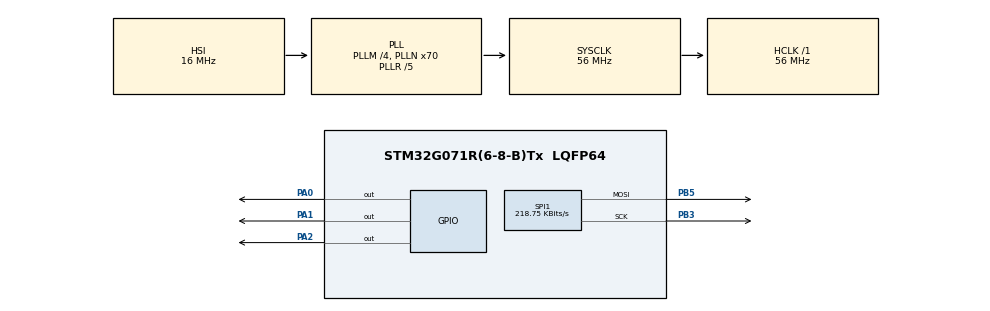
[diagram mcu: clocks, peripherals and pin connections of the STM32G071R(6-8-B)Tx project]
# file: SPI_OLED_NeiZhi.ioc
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Mcu.Family=STM32G0
Mcu.Name=STM32G071R(6-8-B)Tx
Mcu.Package=LQFP64
PA0.Signal=GPIO_Output
PA1.Signal=GPIO_Output
PA2.Signal=GPIO_Output
PB3.GPIO_PuPd=GPIO_PULLDOWN
PB3.Mode=TX_Only_Simplex_Unidirect_Master
PB3.Signal=SPI1_SCK
PB5.GPIO_PuPd=GPIO_PULLDOWN
PB5.Mode=TX_Only_Simplex_Unidirect_Master
PB5.Signal=SPI1_MOSI
ProjectManager.HeapSize=0x200
ProjectManager.StackSize=0x400
ProjectManager.TargetToolchain=MDK-ARM V5.27
RCC.ADCFreq_Value=56000000
RCC.AHBFreq_Value=56000000
RCC.CodegenConfigPeriph=false
RCC.CortexFreq_Value=56000000
RCC.EXTERNAL_CLOCK_VALUE=48000
RCC.HCLKFreq_Value=56000000
RCC.HSE_VALUE=8000000
RCC.HSI_VALUE=16000000
RCC.LSE_VALUE=32768
RCC.PLLM=RCC_PLLM_DIV4
RCC.PLLN=70
RCC.PLLP=RCC_PLLP_DIV10
RCC.PLLQ=RCC_PLLQ_DIV5
RCC.PLLR=RCC_PLLR_DIV5
RCC.SYSCLKFreq_VALUE=56000000
RCC.SYSCLKSource=RCC_SYSCLKSOURCE_PLLCLK
RCC.VCOOutputFreq_Value=280000000
SPI1.BaudRatePrescaler=SPI_BAUDRATEPRESCALER_256
SPI1.CLKPolarity=SPI_POLARITY_HIGH
SPI1.CalculateBaudRate=218.75 KBits/s
SPI1.DataSize=SPI_DATASIZE_8BIT
SPI1.Direction=SPI_DIRECTION_2LINES
SPI1.Mode=SPI_MODE_MASTER
SPI1.NSSPMode=SPI_NSS_PULSE_DISABLE
SPI1.VirtualType=VM_MASTER
VP_SYS_VS_DBSignals.Mode=DisableDeadBatterySignals
board=custom

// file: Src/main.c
/*******************************
	CN9_4	  PB3→D0	SPI时钟线
	CN9_5  	PB5→D1	SPI数据线
	CN10_34	PA2→RES	复位信号
	CN8_2 	PA1→DC	SPI数据/命令选择
	CN8_1 	PA0→CS	片选信号
*******************************/
#include "main.h"
SPI_HandleTypeDef hspi1;
void SystemClock_Config(void);
static void MX_GPIO_Init(void);
static void MX_SPI1_Init(void);

uint8_t aTxBuffer_T[1] = {0x00};	/* 发送缓冲区 */

#define SET 1
#define RESET 0
#define OLED_CMD 0
#define OLED_DATA 1
#define SIZE 				16		//字符与数字 字体大小16为大其他为小
#define X_WIDTH 		128
#define Y_WIDTH 		64
/*******************
		常用ASCII表
		偏移量32
		单个字符大小6列1（*8）行像素
		小字体模式 只在下半屏幕输出
*******************/
const unsigned char L6H8[][6] =
{
	{0x00, 0x00, 0x00, 0x00, 0x00, 0x00},// space 空格
	{0x00, 0x00, 0x00, 0x2f, 0x00, 0x00},// !
	{0x00, 0x00, 0x07, 0x00, 0x07, 0x00},// "
	{0x00, 0x14, 0x7f, 0x14, 0x7f, 0x14},// #
	{0x00, 0x24, 0x2a, 0x7f, 0x2a, 0x12},// $
	{0x00, 0x62, 0x64, 0x08, 0x13, 0x23},// %
	{0x00, 0x36, 0x49, 0x55, 0x22, 0x50},// &
	{0x00, 0x00, 0x05, 0x03, 0x00, 0x00},// '
	{0x00, 0x00, 0x1c, 0x22, 0x41, 0x00},// (
	{0x00, 0x00, 0x41, 0x22, 0x1c, 0x00},// )
	{0x00, 0x14, 0x08, 0x3E, 0x08, 0x14},// *
	{0x00, 0x08, 0x08, 0x3E, 0x08, 0x08},// +
	{0x00, 0x00, 0x00, 0xA0, 0x60, 0x00},// ,
	{0x00, 0x08, 0x08, 0x08, 0x08, 0x08},// -
	{0x00, 0x00, 0x60, 0x60, 0x00, 0x00},// .
	{0x00, 0x20, 0x10, 0x08, 0x04, 0x02},// /
	{0x00, 0x3E, 0x51, 0x49, 0x45, 0x3E},// 0
	{0x00, 0x00, 0x42, 0x7F, 0x40, 0x00},// 1
	{0x00, 0x42, 0x61, 0x51, 0x49, 0x46},// 2
	{0x00, 0x21, 0x41, 0x45, 0x4B, 0x31},// 3
	{0x00, 0x18, 0x14, 0x12, 0x7F, 0x10},// 4
	{0x00, 0x27, 0x45, 0x45, 0x45, 0x39},// 5
	{0x00, 0x3C, 0x4A, 0x49, 0x49, 0x30},// 6
	{0x00, 0x01, 0x71, 0x09, 0x05, 0x03},// 7
	{0x00, 0x36, 0x49, 0x49, 0x49, 0x36},// 8
	{0x00, 0x06, 0x49, 0x49, 0x29, 0x1E},// 9
	{0x00, 0x00, 0x36, 0x36, 0x00, 0x00},// :
	{0x00, 0x00, 0x56, 0x36, 0x00, 0x00},// ;
	{0x00, 0x08, 0x14, 0x22, 0x41, 0x00},// <
	{0x00, 0x14, 0x14, 0x14, 0x14, 0x14},// =
	{0x00, 0x00, 0x41, 0x22, 0x14, 0x08},// >
	{0x00, 0x02, 0x01, 0x51, 0x09, 0x06},// ?
	{0x00, 0x32, 0x49, 0x59, 0x51, 0x3E},// @
	{0x00, 0x7C, 0x12, 0x11, 0x12, 0x7C},// A
	{0x00, 0x7F, 0x49, 0x49, 0x49, 0x36},// B
	{0x00, 0x3E, 0x41, 0x41, 0x41, 0x22},// C
	{0x00, 0x7F, 0x41, 0x41, 0x22, 0x1C},// D
	{0x00, 0x7F, 0x49, 0x49, 0x49, 0x41},// E
	{0x00, 0x7F, 0x09, 0x09, 0x09, 0x01},// F
	{0x00, 0x3E, 0x41, 0x49, 0x49, 0x7A},// G
	{0x00, 0x7F, 0x08, 0x08, 0x08, 0x7F},// H
	{0x00, 0x00, 0x41, 0x7F, 0x41, 0x00},// I
	{0x00, 0x20, 0x40, 0x41, 0x3F, 0x01},// J
	{0x00, 0x7F, 0x08, 0x14, 0x22, 0x41},// K
	{0x00, 0x7F, 0x40, 0x40, 0x40, 0x40},// L
	{0x00, 0x7F, 0x02, 0x0C, 0x02, 0x7F},// M
	{0x00, 0x7F, 0x04, 0x08, 0x10, 0x7F},// N
	{0x00, 0x3E, 0x41, 0x41, 0x41, 0x3E},// O
	{0x00, 0x7F, 0x09, 0x09, 0x09, 0x06},// P
	{0x00, 0x3E, 0x41, 0x51, 0x21, 0x5E},// Q
	{0x00, 0x7F, 0x09, 0x19, 0x29, 0x46},// R
	{0x00, 0x46, 0x49, 0x49, 0x49, 0x31},// S
	{0x00, 0x01, 0x01, 0x7F, 0x01, 0x01},// T
	{0x00, 0x3F, 0x40, 0x40, 0x40, 0x3F},// U
	{0x00, 0x1F, 0x20, 0x40, 0x20, 0x1F},// V
	{0x00, 0x3F, 0x40, 0x38, 0x40, 0x3F},// W
	{0x00, 0x63, 0x14, 0x08, 0x14, 0x63},// X
	{0x00, 0x07, 0x08, 0x70, 0x08, 0x07},// Y
	{0x00, 0x61, 0x51, 0x49, 0x45, 0x43},// Z
	{0x00, 0x00, 0x7F, 0x41, 0x41, 0x00},// [
	{0x00, 0x55, 0x2A, 0x55, 0x2A, 0x55},// 55
	{0x00, 0x00, 0x41, 0x41, 0x7F, 0x00},// ]
	{0x00, 0x04, 0x02, 0x01, 0x02, 0x04},// ^
	{0x00, 0x40, 0x40, 0x40, 0x40, 0x40},// _
	{0x00, 0x00, 0x01, 0x02, 0x04, 0x00},// '
	{0x00, 0x20, 0x54, 0x54, 0x54, 0x78},// a
	{0x00, 0x7F, 0x48, 0x44, 0x44, 0x38},// b
	{0x00, 0x38, 0x44, 0x44, 0x44, 0x20},// c
	{0x00, 0x38, 0x44, 0x44, 0x48, 0x7F},// d
	{0x00, 0x38, 0x54, 0x54, 0x54, 0x18},// e
	{0x00, 0x08, 0x7E, 0x09, 0x01, 0x02},// f
	{0x00, 0x18, 0xA4, 0xA4, 0xA4, 0x7C},// g
	{0x00, 0x7F, 0x08, 0x04, 0x04, 0x78},// h
	{0x00, 0x00, 0x44, 0x7D, 0x40, 0x00},// i
	{0x00, 0x40, 0x80, 0x84, 0x7D, 0x00},// j
	{0x00, 0x7F, 0x10, 0x28, 0x44, 0x00},// k
	{0x00, 0x00, 0x41, 0x7F, 0x40, 0x00},// l
	{0x00, 0x7C, 0x04, 0x18, 0x04, 0x78},// m
	{0x00, 0x7C, 0x08, 0x04, 0x04, 0x78},// n
	{0x00, 0x38, 0x44, 0x44, 0x44, 0x38},// o
	{0x00, 0xFC, 0x24, 0x24, 0x24, 0x18},// p
	{0x00, 0x18, 0x24, 0x24, 0x18, 0xFC},// q
	{0x00, 0x7C, 0x08, 0x04, 0x04, 0x08},// r
	{0x00, 0x48, 0x54, 0x54, 0x54, 0x20},// s
	{0x00, 0x04, 0x3F, 0x44, 0x40, 0x20},// t
	{0x00, 0x3C, 0x40, 0x40, 0x20, 0x7C},// u
	{0x00, 0x1C, 0x20, 0x40, 0x20, 0x1C},// v
	{0x00, 0x3C, 0x40, 0x30, 0x40, 0x3C},// w
	{0x00, 0x44, 0x28, 0x10, 0x28, 0x44},// x
	{0x00, 0x1C, 0xA0, 0xA0, 0xA0, 0x7C},// y
	{0x00, 0x44, 0x64, 0x54, 0x4C, 0x44},// z
	{0x14, 0x14, 0x14, 0x14, 0x14, 0x14},// horiz lines
};

/*******************
		常用ASCII表
		偏移量32
		单个字符大小8列2（*8）行像素
		大字体模式
*******************/
const unsigned char L8H16[][8]=
{
  {0x00,0x00,0x00,0x00,0x00,0x00,0x00,0x00},
	{0x00,0x00,0x00,0x00,0x00,0x00,0x00,0x00},//space 0
  {0x00,0x00,0x00,0xF8,0x00,0x00,0x00,0x00},
	{0x00,0x00,0x00,0x33,0x30,0x00,0x00,0x00},//! 1
  {0x00,0x10,0x0C,0x06,0x10,0x0C,0x06,0x00},
	{0x00,0x00,0x00,0x00,0x00,0x00,0x00,0x00},//" 2
  {0x40,0xC0,0x78,0x40,0xC0,0x78,0x40,0x00},
	{0x04,0x3F,0x04,0x04,0x3F,0x04,0x04,0x00},//# 3
  {0x00,0x70,0x88,0xFC,0x08,0x30,0x00,0x00},
	{0x00,0x18,0x20,0xFF,0x21,0x1E,0x00,0x00},//$ 4
  {0xF0,0x08,0xF0,0x00,0xE0,0x18,0x00,0x00},
	{0x00,0x21,0x1C,0x03,0x1E,0x21,0x1E,0x00},//% 5
  {0x00,0xF0,0x08,0x88,0x70,0x00,0x00,0x00},
	{0x1E,0x21,0x23,0x24,0x19,0x27,0x21,0x10},//& 6
  {0x10,0x16,0x0E,0x00,0x00,0x00,0x00,0x00},
	{0x00,0x00,0x00,0x00,0x00,0x00,0x00,0x00},//' 7
  {0x00,0x00,0x00,0xE0,0x18,0x04,0x02,0x00},
	{0x00,0x00,0x00,0x07,0x18,0x20,0x40,0x00},//( 8
  {0x00,0x02,0x04,0x18,0xE0,0x00,0x00,0x00},
	{0x00,0x40,0x20,0x18,0x07,0x00,0x00,0x00},//) 9
  {0x40,0x40,0x80,0xF0,0x80,0x40,0x40,0x00},
	{0x02,0x02,0x01,0x0F,0x01,0x02,0x02,0x00},//* 10
  {0x00,0x00,0x00,0xF0,0x00,0x00,0x00,0x00},
	{0x01,0x01,0x01,0x1F,0x01,0x01,0x01,0x00},//+ 11
  {0x00,0x00,0x00,0x00,0x00,0x00,0x00,0x00},
	{0x80,0xB0,0x70,0x00,0x00,0x00,0x00,0x00},//, 12
  {0x00,0x00,0x00,0x00,0x00,0x00,0x00,0x00},
	{0x00,0x01,0x01,0x01,0x01,0x01,0x01,0x01},//- 13
  {0x00,0x00,0x00,0x00,0x00,0x00,0x00,0x00},
	{0x00,0x30,0x30,0x00,0x00,0x00,0x00,0x00},//. 14
  {0x00,0x00,0x00,0x00,0x80,0x60,0x18,0x04},
	{0x00,0x60,0x18,0x06,0x01,0x00,0x00,0x00},/// 15
  {0x00,0xE0,0x10,0x08,0x08,0x10,0xE0,0x00},
	{0x00,0x0F,0x10,0x20,0x20,0x10,0x0F,0x00},//0 16
  {0x00,0x10,0x10,0xF8,0x00,0x00,0x00,0x00},
	{0x00,0x20,0x20,0x3F,0x20,0x20,0x00,0x00},//1 17
  {0x00,0x70,0x08,0x08,0x08,0x88,0x70,0x00},
	{0x00,0x30,0x28,0x24,0x22,0x21,0x30,0x00},//2 18
  {0x00,0x30,0x08,0x88,0x88,0x48,0x30,0x00},
	{0x00,0x18,0x20,0x20,0x20,0x11,0x0E,0x00},//3 19
  {0x00,0x00,0xC0,0x20,0x10,0xF8,0x00,0x00},
	{0x00,0x07,0x04,0x24,0x24,0x3F,0x24,0x00},//4 20
  {0x00,0xF8,0x08,0x88,0x88,0x08,0x08,0x00},
	{0x00,0x19,0x21,0x20,0x20,0x11,0x0E,0x00},//5 21
  {0x00,0xE0,0x10,0x88,0x88,0x18,0x00,0x00},
	{0x00,0x0F,0x11,0x20,0x20,0x11,0x0E,0x00},//6 22
  {0x00,0x38,0x08,0x08,0xC8,0x38,0x08,0x00},
	{0x00,0x00,0x00,0x3F,0x00,0x00,0x00,0x00},//7 23
  {0x00,0x70,0x88,0x08,0x08,0x88,0x70,0x00},
	{0x00,0x1C,0x22,0x21,0x21,0x22,0x1C,0x00},//8 24
  {0x00,0xE0,0x10,0x08,0x08,0x10,0xE0,0x00},
	{0x00,0x00,0x31,0x22,0x22,0x11,0x0F,0x00},//9 25
  {0x00,0x00,0x00,0xC0,0xC0,0x00,0x00,0x00},
	{0x00,0x00,0x00,0x30,0x30,0x00,0x00,0x00},//: 26
  {0x00,0x00,0x00,0x80,0x00,0x00,0x00,0x00},
	{0x00,0x00,0x80,0x60,0x00,0x00,0x00,0x00},//; 27
  {0x00,0x00,0x80,0x40,0x20,0x10,0x08,0x00},
	{0x00,0x01,0x02,0x04,0x08,0x10,0x20,0x00},//< 28
  {0x40,0x40,0x40,0x40,0x40,0x40,0x40,0x00},
	{0x04,0x04,0x04,0x04,0x04,0x04,0x04,0x00},//= 29
  {0x00,0x08,0x10,0x20,0x40,0x80,0x00,0x00},
	{0x00,0x20,0x10,0x08,0x04,0x02,0x01,0x00},//> 30
  {0x00,0x70,0x48,0x08,0x08,0x08,0xF0,0x00},
	{0x00,0x00,0x00,0x30,0x36,0x01,0x00,0x00},//? 31
  {0xC0,0x30,0xC8,0x28,0xE8,0x10,0xE0,0x00},
	{0x07,0x18,0x27,0x24,0x23,0x14,0x0B,0x00},//@ 32
  {0x00,0x00,0xC0,0x38,0xE0,0x00,0x00,0x00},
	{0x20,0x3C,0x23,0x02,0x02,0x27,0x38,0x20},//A 33
  {0x08,0xF8,0x88,0x88,0x88,0x70,0x00,0x00},
	{0x20,0x3F,0x20,0x20,0x20,0x11,0x0E,0x00},//B 34
  {0xC0,0x30,0x08,0x08,0x08,0x08,0x38,0x00},
	{0x07,0x18,0x20,0x20,0x20,0x10,0x08,0x00},//C 35
  {0x08,0xF8,0x08,0x08,0x08,0x10,0xE0,0x00},
	{0x20,0x3F,0x20,0x20,0x20,0x10,0x0F,0x00},//D 36
  {0x08,0xF8,0x88,0x88,0xE8,0x08,0x10,0x00},
	{0x20,0x3F,0x20,0x20,0x23,0x20,0x18,0x00},//E 37
  {0x08,0xF8,0x88,0x88,0xE8,0x08,0x10,0x00},
	{0x20,0x3F,0x20,0x00,0x03,0x00,0x00,0x00},//F 38
  {0xC0,0x30,0x08,0x08,0x08,0x38,0x00,0x00},
	{0x07,0x18,0x20,0x20,0x22,0x1E,0x02,0x00},//G 39
  {0x08,0xF8,0x08,0x00,0x00,0x08,0xF8,0x08},
	{0x20,0x3F,0x21,0x01,0x01,0x21,0x3F,0x20},//H 40
  {0x00,0x08,0x08,0xF8,0x08,0x08,0x00,0x00},
	{0x00,0x20,0x20,0x3F,0x20,0x20,0x00,0x00},//I 41
  {0x00,0x00,0x08,0x08,0xF8,0x08,0x08,0x00},
	{0xC0,0x80,0x80,0x80,0x7F,0x00,0x00,0x00},//J 42
  {0x08,0xF8,0x88,0xC0,0x28,0x18,0x08,0x00},
	{0x20,0x3F,0x20,0x01,0x26,0x38,0x20,0x00},//K 43
  {0x08,0xF8,0x08,0x00,0x00,0x00,0x00,0x00},
	{0x20,0x3F,0x20,0x20,0x20,0x20,0x30,0x00},//L 44
  {0x08,0xF8,0xF8,0x00,0xF8,0xF8,0x08,0x00},
	{0x20,0x3F,0x00,0x3F,0x00,0x3F,0x20,0x00},//M 45
  {0x08,0xF8,0x30,0xC0,0x00,0x08,0xF8,0x08},
	{0x20,0x3F,0x20,0x00,0x07,0x18,0x3F,0x00},//N 46
  {0xE0,0x10,0x08,0x08,0x08,0x10,0xE0,0x00},
	{0x0F,0x10,0x20,0x20,0x20,0x10,0x0F,0x00},//O 47
  {0x08,0xF8,0x08,0x08,0x08,0x08,0xF0,0x00},
	{0x20,0x3F,0x21,0x01,0x01,0x01,0x00,0x00},//P 48
  {0xE0,0x10,0x08,0x08,0x08,0x10,0xE0,0x00},
	{0x0F,0x18,0x24,0x24,0x38,0x50,0x4F,0x00},//Q 49
  {0x08,0xF8,0x88,0x88,0x88,0x88,0x70,0x00},
	{0x20,0x3F,0x20,0x00,0x03,0x0C,0x30,0x20},//R 50
  {0x00,0x70,0x88,0x08,0x08,0x08,0x38,0x00},
	{0x00,0x38,0x20,0x21,0x21,0x22,0x1C,0x00},//S 51
  {0x18,0x08,0x08,0xF8,0x08,0x08,0x18,0x00},
	{0x00,0x00,0x20,0x3F,0x20,0x00,0x00,0x00},//T 52
  {0x08,0xF8,0x08,0x00,0x00,0x08,0xF8,0x08},
	{0x00,0x1F,0x20,0x20,0x20,0x20,0x1F,0x00},//U 53
  {0x08,0x78,0x88,0x00,0x00,0xC8,0x38,0x08},
	{0x00,0x00,0x07,0x38,0x0E,0x01,0x00,0x00},//V 54
  {0xF8,0x08,0x00,0xF8,0x00,0x08,0xF8,0x00},
	{0x03,0x3C,0x07,0x00,0x07,0x3C,0x03,0x00},//W 55
  {0x08,0x18,0x68,0x80,0x80,0x68,0x18,0x08},
	{0x20,0x30,0x2C,0x03,0x03,0x2C,0x30,0x20},//X 56
  {0x08,0x38,0xC8,0x00,0xC8,0x38,0x08,0x00},
	{0x00,0x00,0x20,0x3F,0x20,0x00,0x00,0x00},//Y 57
  {0x10,0x08,0x08,0x08,0xC8,0x38,0x08,0x00},
	{0x20,0x38,0x26,0x21,0x20,0x20,0x18,0x00},//Z 58
  {0x00,0x00,0x00,0xFE,0x02,0x02,0x02,0x00},
	{0x00,0x00,0x00,0x7F,0x40,0x40,0x40,0x00},//[ 59
  {0x00,0x0C,0x30,0xC0,0x00,0x00,0x00,0x00},
	{0x00,0x00,0x00,0x01,0x06,0x38,0xC0,0x00},//\ 60
  {0x00,0x02,0x02,0x02,0xFE,0x00,0x00,0x00},
	{0x00,0x40,0x40,0x40,0x7F,0x00,0x00,0x00},//] 61
  {0x00,0x00,0x04,0x02,0x02,0x02,0x04,0x00},
	{0x00,0x00,0x00,0x00,0x00,0x00,0x00,0x00},//^ 62
  {0x00,0x00,0x00,0x00,0x00,0x00,0x00,0x00},
	{0x80,0x80,0x80,0x80,0x80,0x80,0x80,0x80},//_ 63
  {0x00,0x02,0x02,0x04,0x00,0x00,0x00,0x00},
	{0x00,0x00,0x00,0x00,0x00,0x00,0x00,0x00},//` 64
  {0x00,0x00,0x80,0x80,0x80,0x80,0x00,0x00},
	{0x00,0x19,0x24,0x22,0x22,0x22,0x3F,0x20},//a 65
  {0x08,0xF8,0x00,0x80,0x80,0x00,0x00,0x00},
	{0x00,0x3F,0x11,0x20,0x20,0x11,0x0E,0x00},//b 66
  {0x00,0x00,0x00,0x80,0x80,0x80,0x00,0x00},
	{0x00,0x0E,0x11,0x20,0x20,0x20,0x11,0x00},//c 67
  {0x00,0x00,0x00,0x80,0x80,0x88,0xF8,0x00},
	{0x00,0x0E,0x11,0x20,0x20,0x10,0x3F,0x20},//d 68
  {0x00,0x00,0x80,0x80,0x80,0x80,0x00,0x00},
	{0x00,0x1F,0x22,0x22,0x22,0x22,0x13,0x00},//e 69
  {0x00,0x80,0x80,0xF0,0x88,0x88,0x88,0x18},
	{0x00,0x20,0x20,0x3F,0x20,0x20,0x00,0x00},//f 70
  {0x00,0x00,0x80,0x80,0x80,0x80,0x80,0x00},
	{0x00,0x6B,0x94,0x94,0x94,0x93,0x60,0x00},//g 71
  {0x08,0xF8,0x00,0x80,0x80,0x80,0x00,0x00},
	{0x20,0x3F,0x21,0x00,0x00,0x20,0x3F,0x20},//h 72
  {0x00,0x80,0x98,0x98,0x00,0x00,0x00,0x00},
	{0x00,0x20,0x20,0x3F,0x20,0x20,0x00,0x00},//i 73
  {0x00,0x00,0x00,0x80,0x98,0x98,0x00,0x00},
	{0x00,0xC0,0x80,0x80,0x80,0x7F,0x00,0x00},//j 74
  {0x08,0xF8,0x00,0x00,0x80,0x80,0x80,0x00},
	{0x20,0x3F,0x24,0x02,0x2D,0x30,0x20,0x00},//k 75
  {0x00,0x08,0x08,0xF8,0x00,0x00,0x00,0x00},
	{0x00,0x20,0x20,0x3F,0x20,0x20,0x00,0x00},//l 76
  {0x80,0x80,0x80,0x80,0x80,0x80,0x80,0x00},
	{0x20,0x3F,0x20,0x00,0x3F,0x20,0x00,0x3F},//m 77
  {0x80,0x80,0x00,0x80,0x80,0x80,0x00,0x00},
	{0x20,0x3F,0x21,0x00,0x00,0x20,0x3F,0x20},//n 78
  {0x00,0x00,0x80,0x80,0x80,0x80,0x00,0x00},
	{0x00,0x1F,0x20,0x20,0x20,0x20,0x1F,0x00},//o 79
  {0x80,0x80,0x00,0x80,0x80,0x00,0x00,0x00},
	{0x80,0xFF,0xA1,0x20,0x20,0x11,0x0E,0x00},//p 80
  {0x00,0x00,0x00,0x80,0x80,0x80,0x80,0x00},
	{0x00,0x0E,0x11,0x20,0x20,0xA0,0xFF,0x80},//q 81
  {0x80,0x80,0x80,0x00,0x80,0x80,0x80,0x00},
	{0x20,0x20,0x3F,0x21,0x20,0x00,0x01,0x00},//r 82
  {0x00,0x00,0x80,0x80,0x80,0x80,0x80,0x00},
	{0x00,0x33,0x24,0x24,0x24,0x24,0x19,0x00},//s 83
  {0x00,0x80,0x80,0xE0,0x80,0x80,0x00,0x00},
	{0x00,0x00,0x00,0x1F,0x20,0x20,0x00,0x00},//t 84
  {0x80,0x80,0x00,0x00,0x00,0x80,0x80,0x00},
	{0x00,0x1F,0x20,0x20,0x20,0x10,0x3F,0x20},//u 85
  {0x80,0x80,0x80,0x00,0x00,0x80,0x80,0x80},
	{0x00,0x01,0x0E,0x30,0x08,0x06,0x01,0x00},//v 86
  {0x80,0x80,0x00,0x80,0x00,0x80,0x80,0x80},
	{0x0F,0x30,0x0C,0x03,0x0C,0x30,0x0F,0x00},//w 87
  {0x00,0x80,0x80,0x00,0x80,0x80,0x80,0x00},
	{0x00,0x20,0x31,0x2E,0x0E,0x31,0x20,0x00},//x 88
  {0x80,0x80,0x80,0x00,0x00,0x80,0x80,0x80},
	{0x80,0x81,0x8E,0x70,0x18,0x06,0x01,0x00},//y 89
  {0x00,0x80,0x80,0x80,0x80,0x80,0x80,0x00},
	{0x00,0x21,0x30,0x2C,0x22,0x21,0x30,0x00},//z 90
  {0x00,0x00,0x00,0x00,0x80,0x7C,0x02,0x02},
	{0x00,0x00,0x00,0x00,0x00,0x3F,0x40,0x40},//{ 91
  {0x00,0x00,0x00,0x00,0xFF,0x00,0x00,0x00},
	{0x00,0x00,0x00,0x00,0xFF,0x00,0x00,0x00},//| 92
  {0x00,0x02,0x02,0x7C,0x80,0x00,0x00,0x00},
	{0x00,0x40,0x40,0x3F,0x00,0x00,0x00,0x00},//} 93
  {0x00,0x06,0x01,0x01,0x02,0x02,0x04,0x04},
	{0x00,0x00,0x00,0x00,0x00,0x00,0x00,0x00},//~ 94
};

/*****************************
		上半个屏幕，下半个屏幕
		每个字符占用16列2（*8）行
*****************************/
unsigned char Hzk[][16]=
{
	{0x80,0x84,0x44,0x44,0x24,0x14,0x0C,0xFF,0x0C,0x14,0x24,0x44,0x44,0x84,0x80,0x00},
	{0x08,0x08,0x08,0x08,0x09,0x49,0x89,0x79,0x0D,0x0B,0x09,0x08,0x08,0x08,0x08,0x00},/*"李",0*/

	{0x40,0x40,0x42,0x42,0x42,0x42,0x42,0xFE,0x42,0x42,0x42,0x42,0x42,0x40,0x40,0x00},
	{0x80,0x80,0x40,0x20,0x10,0x0C,0x03,0x00,0x03,0x0C,0x10,0x20,0x40,0x80,0x80,0x00},/*"天",1*/

	{0x00,0x02,0x0C,0xC0,0x00,0x20,0xA4,0x64,0xA4,0x3F,0x24,0x64,0xA4,0x20,0x20,0x00},
	{0x02,0x02,0x7F,0x00,0x80,0x89,0x44,0x46,0x2B,0x12,0x2A,0x46,0x80,0x81,0x00,0x00},/*"凌",2*/

	{0x00,0x00,0xFF,0x88,0x88,0x48,0x48,0x00,0x7F,0x88,0x84,0x84,0x82,0xE0,0x00,0x00},
	{0x04,0x04,0x05,0x04,0x04,0x04,0x04,0xFF,0x04,0x04,0x04,0x04,0x04,0x04,0x04,0x00},/*"毕",3*/

	{0x00,0x10,0x60,0x80,0x00,0xFF,0x00,0x00,0x00,0xFF,0x00,0x00,0xC0,0x30,0x00,0x00},
	{0x40,0x40,0x40,0x43,0x40,0x7F,0x40,0x40,0x40,0x7F,0x42,0x41,0x40,0x40,0x40,0x00},/*"业",4*/

	{0x40,0x40,0x42,0xCC,0x00,0x40,0xA0,0x9E,0x82,0x82,0x82,0x9E,0xA0,0x20,0x20,0x00},
	{0x00,0x00,0x00,0x3F,0x90,0x88,0x40,0x43,0x2C,0x10,0x28,0x46,0x41,0x80,0x80,0x00},/*"设",5*/

	{0x40,0x40,0x42,0xCC,0x00,0x40,0x40,0x40,0x40,0xFF,0x40,0x40,0x40,0x40,0x40,0x00},
	{0x00,0x00,0x00,0x7F,0x20,0x10,0x00,0x00,0x00,0xFF,0x00,0x00,0x00,0x00,0x00,0x00},/*"计",6*/
};

/*****************************
		图像显示，横排扫描
		8（*8）行128列
		无划分
*****************************/
unsigned char BMP1[][128] =
{
	{0x00,0x03,0x05,0x09,0x11,0xFF,0x11,0x89,0x05,0xC3,0x00,0xE0,0x00,0xF0,0x00,0xF8,
	0x00,0x00,0x00,0x00,0x00,0x00,0x00,0x44,0x28,0xFF,0x11,0xAA,0x44,0x00,0x00,0x00,
	0x00,0x00,0x00,0x00,0x00,0x00,0x00,0x00,0x00,0x00,0x00,0x00,0x00,0x00,0x00,0x00,
	0x00,0x00,0x00,0x00,0x00,0x00,0x00,0x00,0x00,0x00,0x00,0x00,0x00,0x00,0x00,0x00,
	0x00,0x00,0x00,0x00,0x00,0x00,0x00,0x00,0x00,0x00,0x00,0x00,0x00,0x00,0x00,0x00,
	0x00,0x00,0x00,0x00,0x00,0x00,0x00,0x00,0x00,0x00,0x83,0x01,0x38,0x44,0x82,0x92,
	0x92,0x74,0x01,0x83,0x00,0x00,0x00,0x00,0x00,0x00,0x00,0x7C,0x44,0xFF,0x01,0x7D,
	0x7D,0x7D,0x01,0x7D,0x7D,0x7D,0x7D,0x01,0x7D,0x7D,0x7D,0x7D,0x7D,0x01,0xFF,0x00},

	{0x00,0x00,0x00,0x00,0x00,0x01,0x00,0x01,0x00,0x01,0x00,0x01,0x00,0x01,0x00,0x01,
	0x00,0x00,0x00,0x00,0x00,0x00,0x00,0x00,0x00,0x01,0x01,0x00,0x00,0x00,0x00,0x00,
	0x00,0x00,0x00,0x00,0x00,0x00,0x00,0x00,0x00,0x00,0x00,0x00,0x00,0x00,0x00,0x00,
	0x00,0x00,0x00,0x00,0x00,0x00,0x00,0x00,0x00,0x00,0x00,0x00,0x00,0x00,0x00,0x00,
	0x00,0x00,0x00,0x00,0x00,0x00,0x00,0x00,0x00,0x00,0x00,0x00,0x00,0x00,0x00,0x00,
	0x00,0x00,0x00,0x00,0x00,0x00,0x00,0x00,0x00,0x00,0x01,0x01,0x00,0x00,0x00,0x00,
	0x00,0x00,0x01,0x01,0x00,0x00,0x00,0x00,0x00,0x00,0x00,0x00,0x00,0x01,0x01,0x01,
	0x01,0x01,0x01,0x01,0x01,0x01,0x01,0x01,0x01,0x01,0x01,0x01,0x01,0x01,0x01,0x00},

	{0x00,0x00,0x00,0x00,0x00,0x00,0x00,0x00,0x00,0x00,0x00,0x00,0x00,0x00,0x00,0x00,
	0x00,0x00,0x00,0x00,0x00,0x00,0x00,0x00,0x00,0x00,0x00,0x00,0x3F,0x3F,0x03,0x03,
	0xF3,0x13,0x11,0x11,0x11,0x11,0x11,0x11,0x01,0xF1,0x11,0x61,0x81,0x01,0x01,0x01,
	0x81,0x61,0x11,0xF1,0x01,0x01,0x01,0x01,0x41,0x41,0xF1,0x01,0x01,0x01,0x01,0x01,
	0xC1,0x21,0x11,0x11,0x11,0x11,0x21,0xC1,0x01,0x01,0x01,0x01,0x41,0x41,0xF1,0x01,
	0x01,0x01,0x01,0x01,0x01,0x01,0x01,0x01,0x01,0x11,0x11,0x11,0x11,0x11,0xD3,0x33,
	0x03,0x03,0x3F,0x3F,0x00,0x00,0x00,0x00,0x00,0x00,0x00,0x00,0x00,0x00,0x00,0x00,
	0x00,0x00,0x00,0x00,0x00,0x00,0x00,0x00,0x00,0x00,0x00,0x00,0x00,0x00,0x00,0x00},

	{0x00,0x00,0x00,0x00,0x00,0x00,0x00,0x00,0x00,0x00,0x00,0x00,0x00,0x00,0x00,0x00,
	0x00,0x00,0x00,0x00,0x00,0x00,0x00,0x00,0x00,0x00,0x00,0x00,0xE0,0xE0,0x00,0x00,
	0x7F,0x01,0x01,0x01,0x01,0x01,0x01,0x00,0x00,0x7F,0x00,0x00,0x01,0x06,0x18,0x06,
	0x01,0x00,0x00,0x7F,0x00,0x00,0x00,0x00,0x40,0x40,0x7F,0x40,0x40,0x00,0x00,0x00,
	0x1F,0x20,0x40,0x40,0x40,0x40,0x20,0x1F,0x00,0x00,0x00,0x00,0x40,0x40,0x7F,0x40,
	0x40,0x00,0x00,0x00,0x00,0x60,0x00,0x00,0x00,0x00,0x40,0x30,0x0C,0x03,0x00,0x00,
	0x00,0x00,0xE0,0xE0,0x00,0x00,0x00,0x00,0x00,0x00,0x00,0x00,0x00,0x00,0x00,0x00,
	0x00,0x00,0x00,0x00,0x00,0x00,0x00,0x00,0x00,0x00,0x00,0x00,0x00,0x00,0x00,0x00},

	{0x00,0x00,0x00,0x00,0x00,0x00,0x00,0x00,0x00,0x00,0x00,0x00,0x00,0x00,0x00,0x00,
	0x00,0x00,0x00,0x00,0x00,0x00,0x00,0x00,0x00,0x00,0x00,0x00,0x07,0x07,0x06,0x06,
	0x06,0x06,0x04,0x04,0x04,0x84,0x44,0x44,0x44,0x84,0x04,0x04,0x84,0x44,0x44,0x44,
	0x84,0x04,0x04,0x04,0x84,0xC4,0x04,0x04,0x04,0x04,0x84,0x44,0x44,0x44,0x84,0x04,
	0x04,0x04,0x04,0x04,0x84,0x44,0x44,0x44,0x84,0x04,0x04,0x04,0x04,0x04,0x84,0x44,
	0x44,0x44,0x84,0x04,0x04,0x84,0x44,0x44,0x44,0x84,0x04,0x04,0x04,0x04,0x06,0x06,
	0x06,0x06,0x07,0x07,0x00,0x00,0x00,0x00,0x00,0x00,0x00,0x00,0x00,0x00,0x00,0x00,
	0x00,0x00,0x00,0x00,0x00,0x00,0x00,0x00,0x00,0x00,0x00,0x00,0x00,0x00,0x00,0x00},

	{0x00,0x00,0x00,0x00,0x00,0x00,0x00,0x00,0x00,0x00,0x00,0x00,0x00,0x00,0x00,0x00,
	0x00,0x00,0x00,0x00,0x00,0x00,0x00,0x00,0x00,0x00,0x00,0x00,0x00,0x00,0x00,0x00,
	0x00,0x00,0x00,0x00,0x00,0x10,0x18,0x14,0x12,0x11,0x00,0x00,0x0F,0x10,0x10,0x10,
	0x0F,0x00,0x00,0x00,0x10,0x1F,0x10,0x00,0x00,0x00,0x08,0x10,0x12,0x12,0x0D,0x00,
	0x00,0x18,0x00,0x00,0x0D,0x12,0x12,0x12,0x0D,0x00,0x00,0x18,0x00,0x00,0x10,0x18,
	0x14,0x12,0x11,0x00,0x00,0x10,0x18,0x14,0x12,0x11,0x00,0x00,0x00,0x00,0x00,0x00,
	0x00,0x00,0x00,0x00,0x00,0x00,0x00,0x00,0x00,0x00,0x00,0x00,0x00,0x00,0x00,0x00,
	0x00,0x00,0x00,0x00,0x00,0x00,0x00,0x00,0x00,0x00,0x00,0x00,0x00,0x00,0x00,0x00},

	{0x00,0x00,0x00,0x00,0x00,0x00,0x00,0x00,0x00,0x00,0x00,0x00,0x00,0x00,0x00,0x00,
	0x00,0x00,0x00,0x00,0x00,0x00,0x00,0x00,0x00,0x00,0x00,0x00,0x00,0x00,0x00,0x00,
	0x00,0x00,0x00,0x00,0x00,0x00,0x00,0x00,0x00,0x00,0x00,0x00,0x00,0x00,0x00,0x00,
	0x00,0x00,0x00,0x00,0x00,0x00,0x00,0x00,0x00,0x00,0x00,0x00,0x80,0x80,0x80,0x80,
	0x80,0x80,0x80,0x80,0x00,0x00,0x00,0x00,0x00,0x00,0x00,0x00,0x00,0x00,0x00,0x00,
	0x00,0x00,0x00,0x00,0x00,0x00,0x00,0x00,0x00,0x00,0x00,0x00,0x00,0x00,0x00,0x00,
	0x00,0x00,0x00,0x00,0x00,0x00,0x00,0x00,0x00,0x00,0x00,0x00,0x00,0x00,0x00,0x00,
	0x00,0x00,0x00,0x00,0x00,0x00,0x00,0x00,0x00,0x00,0x00,0x00,0x00,0x00,0x00,0x00},

	{0x00,0x7F,0x03,0x0C,0x30,0x0C,0x03,0x7F,0x00,0x00,0x38,0x54,0x54,0x58,0x00,0x00,
	0x7C,0x04,0x04,0x78,0x00,0x00,0x3C,0x40,0x40,0x7C,0x00,0x00,0x00,0x00,0x00,0x00,
	0x00,0x00,0x00,0x00,0x00,0x00,0x00,0x00,0x00,0x00,0x00,0x00,0x00,0x00,0x00,0x00,
	0x00,0x00,0x00,0x00,0x00,0x00,0x00,0x00,0x00,0x00,0x00,0x00,0xFF,0xAA,0xAA,0xAA,
	0x28,0x08,0x00,0xFF,0x00,0x00,0x00,0x00,0x00,0x00,0x00,0x00,0x00,0x00,0x00,0x00,
	0x00,0x00,0x00,0x00,0x00,0x00,0x00,0x00,0x00,0x00,0x00,0x00,0x00,0x00,0x00,0x00,
	0x00,0x00,0x00,0x00,0x00,0x00,0x00,0x00,0x00,0x7F,0x03,0x0C,0x30,0x0C,0x03,0x7F,
	0x00,0x00,0x26,0x49,0x49,0x49,0x32,0x00,0x00,0x7F,0x02,0x04,0x08,0x10,0x7F,0x00}
};

unsigned char BMP2[][128] =
{
0X00,0X00,0X00,0X00,0X00,0X00,0X00,0X00,0X00,0X00,0X00,0X00,0X00,0X00,0X00,0X00,
0X00,0X00,0X00,0X00,0X00,0X00,0X00,0X00,0X00,0X00,0X00,0X00,0X00,0X00,0X00,0X00,
0X00,0X00,0X00,0X00,0X00,0X00,0X00,0X00,0X00,0X00,0X00,0X00,0X00,0X00,0X00,0X00,
0X00,0X00,0X00,0X00,0X00,0X00,0X00,0X00,0X00,0X00,0X00,0X00,0X00,0X00,0X00,0X00,
0X00,0X00,0X00,0X00,0X00,0X00,0X00,0X00,0X00,0X00,0X00,0X00,0X00,0X00,0X00,0X00,
0X00,0X00,0X00,0X00,0X00,0X00,0X00,0X00,0X00,0X00,0X00,0X00,0X00,0X00,0X00,0X00,
0X00,0X00,0X00,0X00,0X00,0X00,0X00,0X00,0X00,0X00,0X00,0X00,0X00,0X00,0X00,0X00,
0X00,0X00,0X00,0X00,0X00,0X00,0X00,0X00,0X00,0X00,0X00,0X00,0X00,0X00,0X00,0X00,
0X00,0X00,0X00,0X00,0X00,0X00,0X00,0X00,0X00,0X00,0X00,0X00,0X00,0X00,0X00,0X00,
0X00,0X00,0X00,0X00,0X00,0X00,0X00,0X00,0X00,0X00,0X00,0X00,0X00,0X00,0X00,0X00,
0X00,0X00,0X00,0X00,0X00,0X00,0X00,0X00,0X00,0X00,0X00,0X00,0X00,0X00,0X00,0X00,
0X00,0X00,0X00,0X00,0X00,0X00,0X00,0X80,0X80,0XC0,0XC0,0X60,0X60,0X30,0X30,0X30,
0X30,0X30,0X30,0X30,0X30,0X30,0X30,0X30,0XB0,0X30,0X20,0X60,0X60,0XC0,0XC0,0X80,
0X80,0X00,0X00,0X00,0X00,0X00,0X00,0X00,0X00,0X00,0X00,0X00,0X00,0X00,0X00,0X00,
0X00,0X00,0X00,0X00,0X00,0X00,0X00,0X00,0X00,0X00,0X00,0X00,0X00,0X00,0X00,0X00,
0X00,0X00,0X00,0X00,0X00,0X00,0X00,0X00,0X00,0X00,0X00,0X00,0X00,0X00,0X00,0X00,
0X00,0X00,0X00,0X00,0X00,0X00,0X00,0X00,0X00,0X00,0X00,0X00,0X00,0X00,0X00,0X00,
0X00,0X00,0X00,0X00,0X00,0X00,0X00,0X00,0X00,0X00,0X00,0X00,0X00,0X00,0X00,0X00,
0X00,0X00,0X00,0X00,0X00,0X00,0X00,0X00,0X00,0X00,0X00,0X00,0X00,0X00,0X00,0X00,
0X00,0X80,0XE0,0X78,0X1C,0X0E,0X07,0X03,0X01,0X00,0X80,0X03,0X03,0X01,0X00,0X00,
0X00,0X00,0X00,0X00,0X00,0X80,0X80,0X01,0X03,0X03,0X00,0X00,0X00,0X00,0X00,0X01,
0X03,0X07,0X0E,0X1C,0X70,0XE0,0X00,0X00,0X00,0X00,0X00,0X00,0X00,0X00,0X00,0X00,
0X00,0X00,0X00,0X00,0X00,0X00,0X00,0X00,0X00,0X00,0X00,0X00,0X00,0X00,0X00,0X00,
0X00,0X00,0X00,0X00,0X00,0X00,0X00,0X00,0X00,0X00,0X00,0X00,0X00,0X00,0X00,0X00,
0X00,0X00,0X00,0X00,0X00,0X00,0X00,0X00,0X00,0X00,0X00,0X00,0X00,0X00,0X00,0X00,
0X00,0X00,0X00,0X00,0X00,0X00,0X00,0X00,0X00,0X00,0X00,0X00,0X00,0X00,0X00,0X00,
0X00,0X00,0X00,0X00,0X00,0X00,0X00,0X00,0X00,0X00,0X00,0X00,0X00,0X00,0XF0,0XF8,
0X0E,0X07,0X01,0X08,0X1C,0X1C,0X1C,0X1C,0X1C,0X0F,0X07,0X33,0X30,0X60,0X60,0X60,
0X60,0X60,0X60,0X30,0X33,0X03,0X0F,0X0D,0X0C,0X0C,0X0C,0X0C,0X0C,0X00,0X00,0X00,
0X00,0X00,0X00,0X00,0X00,0X87,0XFF,0X30,0X00,0X00,0X00,0X00,0X00,0X00,0X00,0X00,
0X00,0X00,0X00,0X00,0X00,0X00,0X00,0X00,0X00,0X00,0X00,0X00,0X00,0X00,0X00,0X00,
0X00,0X00,0X00,0X00,0X00,0X00,0X00,0X00,0X00,0X00,0X00,0X00,0X00,0X00,0X00,0X00,
0X00,0X00,0X00,0X00,0X00,0X00,0X00,0X00,0X00,0X00,0X00,0X00,0X00,0X00,0X00,0X00,
0X00,0X00,0X00,0X00,0X00,0X00,0X00,0X00,0X00,0X00,0X00,0X00,0X00,0X00,0X00,0X00,
0X00,0X00,0X00,0X00,0X00,0X00,0X00,0X00,0X00,0X00,0X00,0X00,0X00,0X00,0X07,0X1F,
0X38,0X70,0X60,0XC0,0XC0,0X80,0X80,0X80,0X80,0X80,0X20,0X60,0X40,0XC0,0XC0,0X80,
0XC0,0XC0,0XC0,0X60,0X30,0X00,0X00,0X00,0X00,0X00,0X00,0X00,0X00,0X80,0X80,0X80,
0XC0,0X60,0X70,0X38,0X1C,0X0F,0X03,0X00,0X00,0X00,0X00,0X00,0X00,0X00,0X00,0X00,
0X00,0X00,0X00,0X00,0X00,0X00,0X00,0X00,0X00,0X00,0X00,0X00,0X00,0X00,0X00,0X00,
0X00,0X00,0X00,0X00,0X00,0X00,0X00,0X00,0X00,0X00,0X00,0X00,0X00,0X00,0X00,0X00,
0X00,0X00,0X00,0X00,0X00,0X00,0X00,0X00,0X00,0X00,0X00,0X00,0X00,0X00,0X00,0X00,
0X00,0X00,0X00,0X00,0X00,0X00,0X00,0X00,0X00,0X00,0X00,0X00,0X00,0X00,0X00,0X00,
0X00,0X00,0X00,0X00,0X00,0X00,0X00,0X00,0X00,0X00,0X00,0X00,0X00,0X00,0X00,0X00,
0X80,0XC0,0XE0,0X70,0X1C,0X8F,0XC3,0X61,0X31,0X19,0X08,0X00,0X80,0XC0,0X61,0X39,
0X1D,0X01,0X81,0XE0,0X70,0X38,0X00,0X00,0XF0,0XFE,0X0F,0X03,0X03,0X01,0X01,0X01,
0X00,0X00,0X00,0X00,0X00,0X00,0X00,0X00,0X00,0X00,0X00,0X00,0X00,0X00,0X00,0X00,
0X00,0X00,0X00,0X00,0X00,0X00,0X00,0X00,0X00,0X00,0X00,0X00,0X00,0X00,0X00,0X00,
0X00,0X00,0X00,0X00,0X00,0X00,0X00,0X00,0X00,0X00,0X00,0X00,0X00,0X00,0X00,0X00,
0X00,0X00,0X00,0X00,0X00,0X00,0X00,0X00,0X00,0X00,0X00,0X00,0X00,0X00,0X00,0X00,
0X00,0X00,0X00,0X00,0X00,0X00,0X00,0X00,0X00,0X00,0X00,0X00,0X00,0X00,0X00,0X00,
0X00,0X00,0X00,0X00,0X00,0X00,0X00,0X00,0X00,0X00,0XE0,0XE0,0XF0,0XF8,0XFE,0XE6,
0XC3,0XC7,0XC6,0X83,0X83,0XF9,0XFC,0X86,0X86,0X82,0X82,0X07,0X0D,0X0C,0X9C,0X9E,
0X9F,0X9B,0X99,0XB0,0XF0,0XF0,0XF8,0XFF,0XF7,0XF0,0XE0,0X00,0X00,0X00,0X00,0X00,
0X00,0X00,0X00,0X00,0X00,0X00,0X00,0X00,0X00,0X00,0X00,0X00,0X00,0X00,0X00,0X00,
0X00,0X00,0X00,0X00,0X00,0X00,0X00,0X00,0X00,0X00,0X00,0X00,0X00,0X00,0X00,0X00,
0X00,0X00,0X00,0X00,0X00,0X00,0X00,0X00,0X00,0X00,0X00,0X00,0X00,0X00,0X00,0X00,
0X00,0X00,0X00,0X00,0X00,0X00,0X00,0X00,0X00,0X00,0X00,0X00,0X00,0X00,0X00,0X00,
0X00,0X00,0X00,0X00,0X00,0X00,0X00,0X00,0X00,0X00,0X00,0X00,0X00,0X00,0X00,0X00,
0X00,0X00,0X00,0X00,0X00,0X00,0X00,0X00,0X00,0X00,0X00,0X01,0X01,0X03,0X03,0X03,
0X07,0X07,0X07,0X07,0X07,0X07,0X07,0X07,0X07,0X07,0X07,0X07,0X07,0X07,0X07,0X07,
0X07,0X07,0X07,0X07,0X03,0X03,0X03,0X03,0X01,0X01,0X00,0X00,0X00,0X00,0X00,0X00,
0X00,0X00,0X00,0X00,0X00,0X00,0X00,0X00,0X00,0X00,0X00,0X00,0X00,0X00,0X00,0X00,
0X00,0X00,0X00,0X00,0X00,0X00,0X00,0X00,0X00,0X00,0X00,0X00,0X00,0X00,0X00,0X00,
0X00,0X00,0X00,0X00,0X00,0X00,0X00,0X00,0X00,0X00,0X00,0X00,0X00,0X00,0X00,0X00,
};

//驱动
void OLED_WR_Byte(unsigned char dat,unsigned char cmd);
void OLED_Set_Pos(unsigned char x, unsigned char y);
void OLED_Clear(void);
void OLED_Init(void);
void OLED_All(void);
void OLED_Display_On(void);
void OLED_Display_Off(void);
//字符以及字符串显示
void OLED_ShowChar(unsigned char x,unsigned char y,unsigned char chr);
void OLED_ShowString(unsigned char  x,unsigned char  y, unsigned char  *p);
//中文模式显示
void OLED_ShowCHinese(unsigned char x,unsigned char y,unsigned char no);
//图片模式显示
void OLED_DrawBMP(unsigned char x0, unsigned char y0,unsigned char x1, unsigned char y1,unsigned char select_BMP);
//数字模式显示
int OLED_pow(unsigned char m,unsigned char n);
void OLED_ShowNum(unsigned char x,unsigned char y,unsigned int num,unsigned char len,unsigned char size2);

int main(void)
{
  HAL_Init();
  SystemClock_Config();
  MX_GPIO_Init();
  MX_SPI1_Init();
	unsigned char t;
	OLED_Init();
	OLED_Clear();
	t=' ';	//获取需要显示字符的ASC码
  while (1)
  {
		OLED_Clear();
		OLED_ShowCHinese(0,0,0);	//李天凌毕业设计
		OLED_ShowCHinese(18,0,1);
		OLED_ShowCHinese(36,0,2);
		OLED_ShowCHinese(54,0,3);
		OLED_ShowCHinese(72,0,4);
		OLED_ShowCHinese(90,0,5);
		OLED_ShowCHinese(108,0,6);
		OLED_ShowString(0,2,"1.3' OLED TEST");
	 	OLED_ShowString(20,4,"2021/06/01");
		OLED_ShowString(0,6,"ASCII:");
		OLED_ShowString(63,6,"CODE:");
		OLED_ShowChar(48,6,t);//显示ASCII字符
		t++;
		if(t>'~')
			t=' ';
		OLED_ShowNum(103,6,t,3,16);//显示ASCII字符的码值
		HAL_Delay(3000);
		OLED_All();
		HAL_Delay(1000);
		OLED_Clear();
		HAL_Delay(1000);
		OLED_DrawBMP(0,0,128,8,1);  //图片显示(图片显示慎用，生成的字表较大，会占用较多空间，FLASH空间8K以下慎用)
		HAL_Delay(3000);
		OLED_DrawBMP(0,0,128,8,2);
		HAL_Delay(3000);
  }
}

void SystemClock_Config(void)
{
  RCC_OscInitTypeDef RCC_OscInitStruct = {0};
  RCC_ClkInitTypeDef RCC_ClkInitStruct = {0};

  /** Initializes the RCC Oscillators according to the specified parameters
  * in the RCC_OscInitTypeDef structure.
  */
  RCC_OscInitStruct.OscillatorType = RCC_OSCILLATORTYPE_HSI;
  RCC_OscInitStruct.HSIState = RCC_HSI_ON;
  RCC_OscInitStruct.HSIDiv = RCC_HSI_DIV1;
  RCC_OscInitStruct.HSICalibrationValue = RCC_HSICALIBRATION_DEFAULT;
  RCC_OscInitStruct.PLL.PLLState = RCC_PLL_ON;
  RCC_OscInitStruct.PLL.PLLSource = RCC_PLLSOURCE_HSI;
  RCC_OscInitStruct.PLL.PLLM = RCC_PLLM_DIV4;
  RCC_OscInitStruct.PLL.PLLN = 70;
  RCC_OscInitStruct.PLL.PLLP = RCC_PLLP_DIV10;
  RCC_OscInitStruct.PLL.PLLQ = RCC_PLLQ_DIV5;
  RCC_OscInitStruct.PLL.PLLR = RCC_PLLR_DIV5;
  if (HAL_RCC_OscConfig(&RCC_OscInitStruct) != HAL_OK)
  {
    Error_Handler();
  }
  /** Initializes the CPU, AHB and APB buses clocks
  */
  RCC_ClkInitStruct.ClockType = RCC_CLOCKTYPE_HCLK|RCC_CLOCKTYPE_SYSCLK
                              |RCC_CLOCKTYPE_PCLK1;
  RCC_ClkInitStruct.SYSCLKSource = RCC_SYSCLKSOURCE_PLLCLK;
  RCC_ClkInitStruct.AHBCLKDivider = RCC_SYSCLK_DIV1;
  RCC_ClkInitStruct.APB1CLKDivider = RCC_HCLK_DIV1;

  if (HAL_RCC_ClockConfig(&RCC_ClkInitStruct, FLASH_LATENCY_2) != HAL_OK)
  {
    Error_Handler();
  }
}

static void MX_SPI1_Init(void)
{

  /* SPI1 parameter configuration*/
  hspi1.Instance = SPI1;
  hspi1.Init.Mode = SPI_MODE_MASTER;
  hspi1.Init.Direction = SPI_DIRECTION_2LINES;
  hspi1.Init.DataSize = SPI_DATASIZE_8BIT;
  hspi1.Init.CLKPolarity = SPI_POLARITY_HIGH;
  hspi1.Init.CLKPhase = SPI_PHASE_1EDGE;
  hspi1.Init.NSS = SPI_NSS_SOFT;
  hspi1.Init.BaudRatePrescaler = SPI_BAUDRATEPRESCALER_256;
  hspi1.Init.FirstBit = SPI_FIRSTBIT_MSB;
  hspi1.Init.TIMode = SPI_TIMODE_DISABLE;
  hspi1.Init.CRCCalculation = SPI_CRCCALCULATION_DISABLE;
  hspi1.Init.CRCPolynomial = 7;
  hspi1.Init.CRCLength = SPI_CRC_LENGTH_DATASIZE;
  hspi1.Init.NSSPMode = SPI_NSS_PULSE_DISABLE;
  if (HAL_SPI_Init(&hspi1) != HAL_OK)
  {
    Error_Handler();
  }

}

static void MX_GPIO_Init(void)
{
  GPIO_InitTypeDef GPIO_InitStruct = {0};

  /* GPIO Ports Clock Enable */
  __HAL_RCC_GPIOA_CLK_ENABLE();
  __HAL_RCC_GPIOB_CLK_ENABLE();

  /*Configure GPIO pin Output Level */
  HAL_GPIO_WritePin(GPIOA, GPIO_PIN_0|GPIO_PIN_1|GPIO_PIN_2, GPIO_PIN_RESET);

  /*Configure GPIO pins : PA0 PA1 PA2 */
  GPIO_InitStruct.Pin = GPIO_PIN_0|GPIO_PIN_1|GPIO_PIN_2;
  GPIO_InitStruct.Mode = GPIO_MODE_OUTPUT_PP;
  GPIO_InitStruct.Pull = GPIO_NOPULL;
  GPIO_InitStruct.Speed = GPIO_SPEED_FREQ_LOW;
  HAL_GPIO_Init(GPIOA, &GPIO_InitStruct);

}

/* USER CODE BEGIN 4 */

/*******************************
		向SSD1306写入一个字节。
		dat:要写入的数据/命令
		cmd:数据/命令选择 0,表示命令;1,表示数据;
*******************************/
void OLED_WR_Byte(unsigned char dat,unsigned char select)
{
	unsigned char i;
	if(select)
		HAL_GPIO_WritePin(GPIOA,GPIO_PIN_1,SET);		//数据/命令选择线DC=1输入数据
	else
		HAL_GPIO_WritePin(GPIOA,GPIO_PIN_1,RESET);	//数据/命令选择线DC=0输入命令
	HAL_GPIO_WritePin(GPIOA,GPIO_PIN_0,RESET);		//片选CS=0低电平有效
	aTxBuffer_T[0]=dat;
	HAL_SPI_Transmit(&hspi1, (uint8_t *)aTxBuffer_T, 1, 5000); //仅发送模式，发送1数据，限时5s

	HAL_GPIO_WritePin(GPIOA,GPIO_PIN_0,SET);			//片选CS=1高电平失效
	HAL_GPIO_WritePin(GPIOA,GPIO_PIN_1,SET);			//数据/命令选择线DC=1等待输入数据
}

/*******************************
		设置光标位置
		x为列数0-127共128列（128*1=128）
		y为行数0-7共8行（8*8=64）
*******************************/
void OLED_Set_Pos(unsigned char x, unsigned char y)
{
	OLED_WR_Byte(0xb0+y,OLED_CMD);
	OLED_WR_Byte(((x&0xf0)>>4)|0x10,OLED_CMD);
	OLED_WR_Byte((x&0x0f)|0x01,OLED_CMD);
}

/*******************************
		清屏函数。
		因为OLED自发光，无背光。
		所以清完屏,整个屏幕是黑色的!
		和没点亮一样!!!
*******************************/
void OLED_Clear(void)
{
	for(unsigned char y=0;y<8;y++)	//8行*8位数据（64）
	{
		OLED_Set_Pos(0,y);	//只有行地址不同时需要设置起始位
		for(unsigned char x=0;x<128;x++)
			OLED_WR_Byte(0x00,OLED_DATA);		//列地址是自动加的
	}
}

/*初始化SSD1306*/
void OLED_Init(void)
{
	HAL_GPIO_WritePin(GPIOA,GPIO_PIN_2,SET);		// 复位信号RES=1
	HAL_Delay(100);
	HAL_GPIO_WritePin(GPIOA,GPIO_PIN_2,RESET);	// 复位信号RES=0
	HAL_Delay(100);
	HAL_GPIO_WritePin(GPIOA,GPIO_PIN_2,SET);		// 复位信号RES=1

	OLED_WR_Byte(0xAE,OLED_CMD);//--turn off oled panel
	OLED_WR_Byte(0x00,OLED_CMD);//---set low column address
	OLED_WR_Byte(0x10,OLED_CMD);//---set high column address
	OLED_WR_Byte(0x40,OLED_CMD);//--set start line address  Set Mapping RAM Display Start Line (0x00~0x3F)
	OLED_WR_Byte(0x81,OLED_CMD);//--set contrast control register
	OLED_WR_Byte(0xCF,OLED_CMD); // Set SEG Output Current Brightness
	OLED_WR_Byte(0xA1,OLED_CMD);//--Set SEG/Column Mapping     0xa0左右反置 0xa1正常
	OLED_WR_Byte(0xC8,OLED_CMD);//Set COM/Row Scan Direction   0xc0上下反置 0xc8正常
	OLED_WR_Byte(0xA6,OLED_CMD);//--set normal display
	OLED_WR_Byte(0xA8,OLED_CMD);//--set multiplex ratio(1 to 64)
	OLED_WR_Byte(0x3f,OLED_CMD);//--1/64 duty
	OLED_WR_Byte(0xD3,OLED_CMD);//-set display offset	Shift Mapping RAM Counter (0x00~0x3F)
	OLED_WR_Byte(0x00,OLED_CMD);//-not offset
	OLED_WR_Byte(0xd5,OLED_CMD);//--set display clock divide ratio/oscillator frequency
	OLED_WR_Byte(0x80,OLED_CMD);//--set divide ratio, Set Clock as 100 Frames/Sec
	OLED_WR_Byte(0xD9,OLED_CMD);//--set pre-charge period
	OLED_WR_Byte(0xF1,OLED_CMD);//Set Pre-Charge as 15 Clocks & Discharge as 1 Clock
	OLED_WR_Byte(0xDA,OLED_CMD);//--set com pins hardware configuration
	OLED_WR_Byte(0x12,OLED_CMD);
	OLED_WR_Byte(0xDB,OLED_CMD);//--set vcomh
	OLED_WR_Byte(0x40,OLED_CMD);//Set VCOM Deselect Level
	OLED_WR_Byte(0x20,OLED_CMD);//-Set Page Addressing Mode (0x00/0x01/0x02)
	OLED_WR_Byte(0x02,OLED_CMD);//
	OLED_WR_Byte(0x8D,OLED_CMD);//--set Charge Pump enable/disable
	OLED_WR_Byte(0x14,OLED_CMD);//--set(0x10) disable
	OLED_WR_Byte(0xA4,OLED_CMD);// Disable Entire Display On (0xa4/0xa5)
	OLED_WR_Byte(0xA6,OLED_CMD);// Disable Inverse Display On (0xa6/a7)
	OLED_WR_Byte(0xAF,OLED_CMD);//--turn on oled panel

	OLED_WR_Byte(0xAF,OLED_CMD); /*display ON*/
	OLED_Clear();
	OLED_Set_Pos(0,0);
}

/*蓝屏函数,全部点亮*/
void OLED_All(void)
{
	for(unsigned char y=0;y<8;y++)
	{
		OLED_Set_Pos(0,y);
		for(unsigned char x=0;x<128;x++)
			OLED_WR_Byte(0xff,OLED_DATA);
	}
}

/*开启OLED显示*/
void OLED_Display_On(void)
{
	OLED_WR_Byte(0X8D,OLED_CMD);  //SET DCDC命令
	OLED_WR_Byte(0X14,OLED_CMD);  //DCDC ON
	OLED_WR_Byte(0XAF,OLED_CMD);  //DISPLAY ON
}
/*关闭OLED显示*/
void OLED_Display_Off(void)
{
	OLED_WR_Byte(0X8D,OLED_CMD);  //SET DCDC命令
	OLED_WR_Byte(0X10,OLED_CMD);  //DCDC OFF
	OLED_WR_Byte(0XAE,OLED_CMD);  //DISPLAY OFF
}
//*********************************************************************************************************

/*******************************
		在指定位置显示一个字符,包括部分字符
		x:0~127列		y:0~7行（8行*8位）
		mode:0,反白显示;1,正常显示
		size:选择字体 16/12
*******************************/
void OLED_ShowChar(unsigned char x,unsigned char y,unsigned char chr)
{
	unsigned char nomber=0,i=0;
	nomber=chr-' ';//得到偏移后的值即ASC码偏移量  设置空格为0号字符
	if(x>X_WIDTH-1)	//如果超出这一行自动跳转到下一行（+2）
	{
		x=0;
		y=y+2;
	}
	if(SIZE ==16) //按照16号字体显示	显示方式与原理同汉字
	{
		OLED_Set_Pos(x,y);
		for(i=0;i<8;i++)
			OLED_WR_Byte(L8H16[nomber*2][i],OLED_DATA);
		OLED_Set_Pos(x,y+1);
		for(i=0;i<8;i++)
			OLED_WR_Byte(L8H16[nomber*2+1][i],OLED_DATA);
	}
	else //字体除了16以外都是小字体，设置其他值无用
	{
		OLED_Set_Pos(x,y+1);	//设置起始地址为下半屏幕
		for(i=0;i<6;i++)
			OLED_WR_Byte(L6H8[nomber][i],OLED_DATA);
	}
}

/* 显示一个字符串*/
void OLED_ShowString(unsigned char x,unsigned char y,unsigned char *chr)
{
	unsigned char i=0;
	while (chr[i]!='\0')	//不是字符串的结束则一直循环
	{
		OLED_ShowChar(x,y,chr[i]);	//在x，y处显示字符
		x+=8;												//x=x+8 列地址加8准备显示下一字符
		if(x>120)										//位置不够显示当前字符，去下一行显示
		{
			x=0;
			y+=2;
		}
		i++;	//扫描下一字符
	}
}

//*********************************************************************************************************

/*******************************
		显示汉字
		x列y行  从0开始
		no寻址需要显示的汉字
		两个for循环，上下半屏分开显示
*******************************/
void OLED_ShowCHinese(unsigned char x,unsigned char y,unsigned char no)
{
	unsigned char t; 			//循环用的变量
	OLED_Set_Pos(x,y);		//设置上半屏起始地址
  for(t=0;t<16;t++)
		OLED_WR_Byte(Hzk[2*no][t],OLED_DATA);
	OLED_Set_Pos(x,y+1);	//下半屏起始地址，比上半屏多一列
  for(t=0;t<16;t++)
		OLED_WR_Byte(Hzk[2*no+1][t],OLED_DATA);
}

//*********************************************************************************************************

/*******************************
		显示显示BMP图片128×64
		起始点坐标(x,y)
		列x的范围0-127，行y的范围0-7
		x0y0起始，x1y1结束
*******************************/
void OLED_DrawBMP(unsigned char x0,unsigned char y0,unsigned char x1,unsigned char y1,unsigned char select_BMP)
{
	for(unsigned char y=y0;y<y1;y++)
	{
		OLED_Set_Pos(x0,y);
    for(unsigned char x=x0;x<x1;x++)
		{
			if(select_BMP==1)
				OLED_WR_Byte(BMP1[y][x],OLED_DATA);
			else if(select_BMP==2)
				OLED_WR_Byte(BMP2[y][x],OLED_DATA);
			else ;
		}
	}
}

//*********************************************************************************************************

/*******************************
		幂函数m^n
		用来辅助获取要显示的某一位
*******************************/
int OLED_pow(unsigned char m,unsigned char n)
{
	unsigned int result=1;
	while(n--) result*=m;
	return result;
}

/*******************************
		显示2个数字
		x,y :起点坐标
		len :数字的位数
		size:字体大小
		num:数值(0~4294967295);
*******************************/
void OLED_ShowNum(unsigned char x,unsigned char y,unsigned int num,unsigned char len,unsigned char size2)
{
	unsigned char t,number_byte;	//循环与输出位
	unsigned char enshow=0;	//显示控制变量，显示完置一
	for(t=0;t<len;t++)
	{
		number_byte=(num/OLED_pow(10,len-t-1))%10;		//输出位，从高到低检测

		if(number_byte!=0)		//显示内容非0，开启显示（之后不再显示空格）
		{
			enshow=1;
			OLED_ShowChar(x+(size2/2)*t,y,number_byte+'0');
		}
		else if(enshow==0)	//显示内容为0，且没有开启显示，显示空格
			OLED_ShowChar(x+(size2/2)*t,y,' ');
		else								//开启显示之后，正常显示0
			OLED_ShowChar(x+(size2/2)*t,y,'0');
	}
}
/* USER CODE END 4 */

void Error_Handler(void)
{
  __disable_irq();
  while (1)
  {
  }
}

/************************ (C) COPYRIGHT STMicroelectronics *****END OF FILE****/
